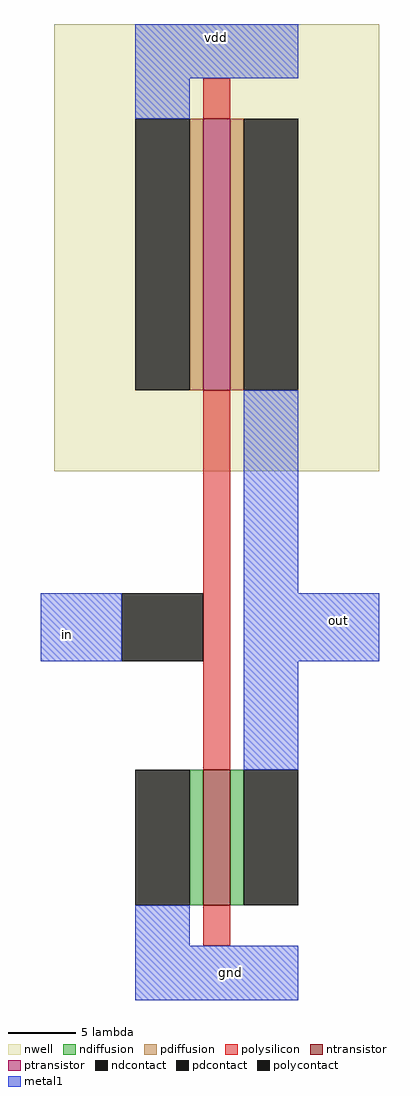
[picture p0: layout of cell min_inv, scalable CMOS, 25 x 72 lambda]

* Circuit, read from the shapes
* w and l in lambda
.subckt min_inv gnd in out vdd
M1 out in gnd VSUBS nfet w=10 l=2
M2 out in vdd n1 pfet w=20 l=2
.ends

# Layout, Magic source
magic
tech scmos
<< nwell >>
rect -6 32 18 65
<< ntransistor >>
rect 5 0 7 10
<< ptransistor >>
rect 5 38 7 58
<< ndiffusion >>
rect 4 0 5 10
rect 7 0 8 10
<< pdiffusion >>
rect 4 38 5 58
rect 7 38 8 58
<< ndcontact >>
rect 0 0 4 10
rect 8 0 12 10
<< pdcontact >>
rect 0 38 4 58
rect 8 38 12 58
<< polysilicon >>
rect 5 58 7 61
rect 5 10 7 38
rect 5 -3 7 0
<< polycontact >>
rect -1 18 5 23
<< metal1 >>
rect 0 61 12 65
rect 0 58 4 61
rect 8 23 12 38
rect -7 18 -1 23
rect 8 18 18 23
rect 8 10 12 18
rect 0 -3 4 0
rect 0 -7 12 -3
<< labels >>
rlabel metal1 6 64 6 64 5 vdd
rlabel metal1 7 -5 7 -5 1 gnd
rlabel metal1 -5 20 -5 20 3 in
rlabel metal1 15 21 15 21 7 out
<< end >>
